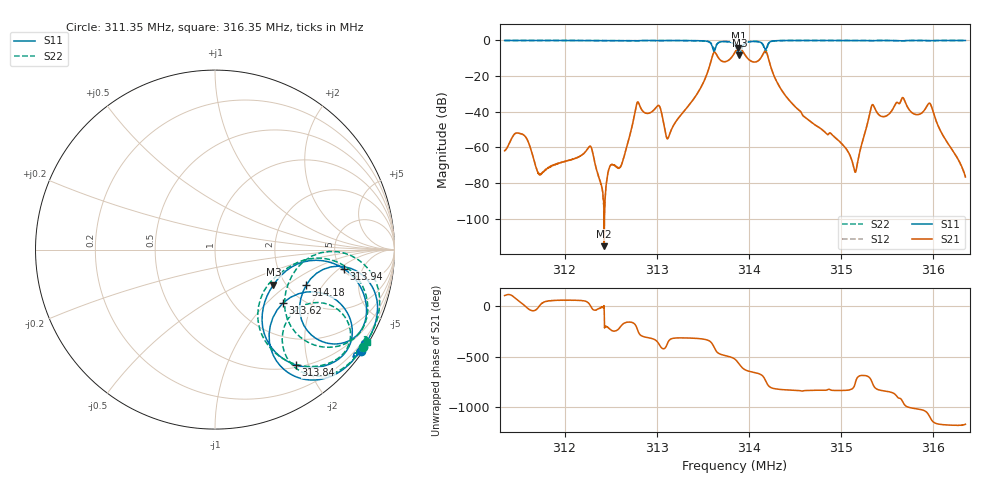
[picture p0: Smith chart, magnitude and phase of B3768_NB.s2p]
! Matrix data file written by TouchstoneData, EPCOS AG
! FILENAME: "B3768_SB.s2p"
! COMMENT: "PINNING 2/5; PORTEX1 104.5PS; PORTEX2 195PS;"
! INFO: nport=2, nfreq=1601
! DATE: "Wed Sep 19 15:41:23 2012"
! USER: "Wilfried Schott"
! port | pin | signal
!  1  |  2  |  IN
!  2  |  5  |  OUT
# MHZ S MA R 50
! freq  magS11 angS11  magS21 angS21  magS12 angS12  magS22 angS22
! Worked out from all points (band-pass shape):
!   1601 points, 311.35 MHz to 316.35 MHz, reference 50 ohm
!   highest |S21| = -4.31 dB at 313.89 MHz (marker M1); lowest = -115.3 dB at 312.43 MHz (marker M2)
!   |S21| within 3 dB of the highest: 313.8426 MHz to 313.9477 MHz (105.1 kHz wide, 0.0335 % of centre); 314.1581 MHz to 314.1969 MHz (38.82 kHz wide, 0.0124 % of centre) (the widest 2 of 3)
!   lowest |S11| = -8.4 dB at 313.9 MHz (marker M3), VSWR 2.23, Z = 86.7 - j39.7 ohm
!   |S11| at or under -10 dB: nowhere
!   |S22| runs from -9.0 to -0.1 dB; largest |S21 - S12| = 0.00094
!   S11 on the Smith chart (normalised r, x): 311.35 MHz: 0.06, -3.19; 313.62 MHz: 1.62, -1.25; 313.84 MHz: 0.54, -1.80; 313.94 MHz: 5.22, -2.40; 314.18 MHz: 2.50, -1.41; 316.35 MHz: 0.07, -3.41
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311.35  0.9886 -34.8  0.0008044 103.9  0.0008017 103.4  0.9874 -33.4
311.55  0.9876 -34.9  0.002305 17.2  0.002292 17.5  0.9868 -33.5
311.7375  0.9895 -35.0  0.0001732 12.3  0.0001681 12.7  0.9884 -33.6
312.1844  0.9893 -35.6  0.0005998 54.6  0.0005988 54.9  0.9882 -34.2
312.4313  0.9887 -36.0  1.719e-06 -62.3  1.262e-05 35.4  0.9878 -34.6
312.6188  0.9881 -36.5  0.0003279 168.0  0.0003319 168.1  0.987 -35.0
312.7906  0.9677 -36.7  0.01839 129.1  0.01836 129.2  0.9711 -35.4
313.0188  0.9733 -37.8  0.01505 -8.0  0.01503 -8.0  0.9751 -36.2
313.1281  0.9855 -38.0  0.001922 10.7  0.001934 10.6  0.9854 -36.6
313.625  0.4817 -38.1  0.4639 -51.9  0.4635 -51.9  0.558 -39.3
313.8406  0.7849 -55.0  0.4228 -160.8  0.4221 -160.8  0.7707 -55.5
313.85  0.7334 -57.4  0.4646 -166.9  0.464 -166.8  0.716 -58.1
313.8875  0.4015 -46.2  0.609 154.2  0.6086 154.2  0.3578 -40.7
313.8969  0.3801 -31.1  0.604 143.4  0.6037 143.4  0.3766 -22.3
313.9406  0.7279 -8.5  0.4617 99.7  0.4612 99.7  0.7449 -7.9
314.1844  0.5453 -21.3  0.4864 -22.9  0.4859 -22.8  0.4523 -19.1
314.6844  0.9895 -29.6  0.004945 -115.2  0.00494 -115.3  0.9887 -28.0
315.1531  0.9897 -31.6  0.0002055 -50.3  0.0002039 -45.7  0.9891 -30.1
315.3344  0.9738 -32.1  0.01495 -28.3  0.01493 -28.2  0.9756 -30.6
315.5188  0.9882 -32.4  0.008493 -128.3  0.008478 -128.3  0.9872 -30.9
315.9656  0.9735 -32.4  0.01704 -21.2  0.01701 -21.1  0.9704 -30.9
316.35  0.9886 -32.7  0.0001487 -90.3  0.0001471 -89.5  0.9879 -31.3
